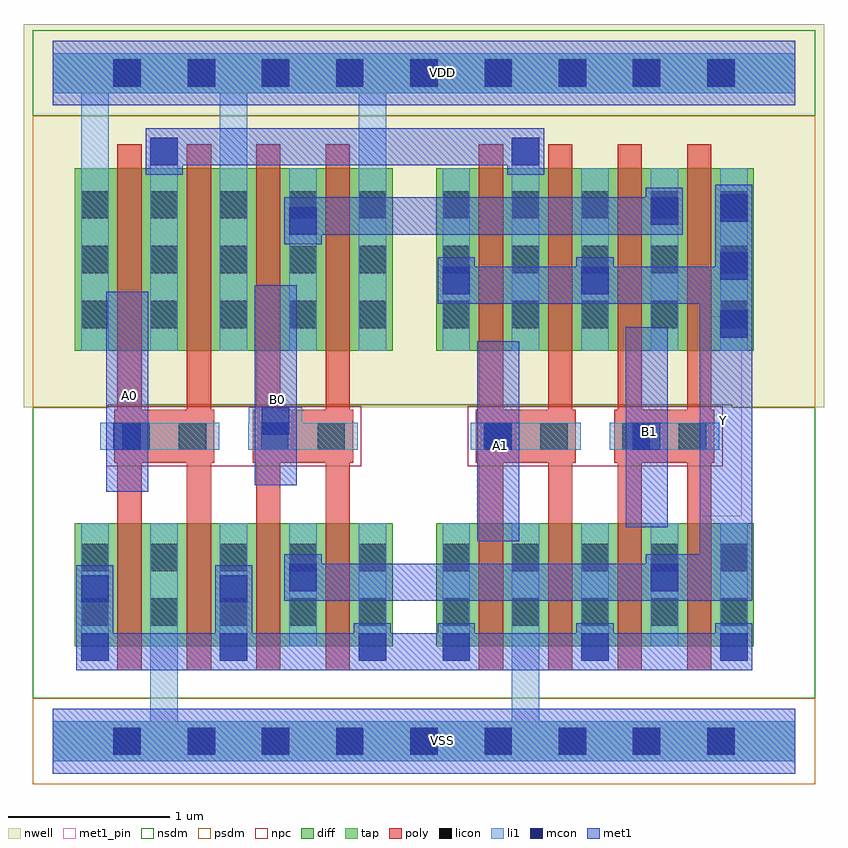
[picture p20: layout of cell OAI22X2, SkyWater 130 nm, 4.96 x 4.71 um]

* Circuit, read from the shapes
.subckt OAI22X2 A0 A1 B0 B1 VDD VSS Y
XM1 VSS A0 n1 VSS sky130_fd_pr__nfet_01v8 w=0.76 l=0.15 m=2
XM2 Y B0 n1 VSS sky130_fd_pr__nfet_01v8 w=0.76 l=0.15 m=2
XM3 VSS A1 n1 VSS sky130_fd_pr__nfet_01v8 w=0.76 l=0.15 m=2
XM4 Y B1 n1 VSS sky130_fd_pr__nfet_01v8 w=0.76 l=0.15 m=2
XM5 n2 A0 VDD VDD sky130_fd_pr__pfet_01v8 w=1.13 l=0.15 m=2
XM6 n3 B0 VDD VDD sky130_fd_pr__pfet_01v8 w=1.13 l=0.15 m=2
XM7 n2 A1 Y VDD sky130_fd_pr__pfet_01v8 w=1.13 l=0.15 m=2
XM8 n3 B1 Y VDD sky130_fd_pr__pfet_01v8 w=1.13 l=0.15 m=2
.ends

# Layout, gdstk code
from math import pi, radians
import gdstk
lib = gdstk.Library(unit=1e-6, precision=1e-09)
def R(c, l, rs):  # rectangles x0, y0, x1, y1
    for r in rs: c.add(gdstk.rectangle(r[:2], r[2:], *l))
def A(c, l, x, y, w, h, nx, ny, dx, dy):  # array of equal rectangles
    R(c, l, [(x+i*dx, y+j*dy, x+i*dx+w, y+j*dy+h) for i in range(nx) for j in range(ny)])
def P(c, l, *ps):  # polygons
    for p in ps: c.add(gdstk.Polygon(p, *l))
nwell = (64, 20)
diff = (65, 20)
tap = (65, 44)
poly = (66, 20)
licon = (66, 44)
li1 = (67, 20)
mcon = (67, 44)
met1_pin = (68, 16)
met1 = (68, 20)
nsdm = (93, 44)
psdm = (94, 20)
npc = (95, 20)

pfet_01v8_cdns_715785618 = lib.new_cell('pfet_01v8_CDNS_71578561820121')
R(pfet_01v8_cdns_715785618, nwell, [(-0.405,-0.18,1.025,1.31)])
R(pfet_01v8_cdns_715785618, diff, [(-0.225,0,0,1.13), (0,0,0.15,1.13), (0.15,0,0.43,1.13), (0.43,0,0.58,1.13), (0.58,0,0.845,1.13)])
R(pfet_01v8_cdns_715785618, poly, [(0,-0.15,0.15,-0.095), (0.43,-0.15,0.58,-0.095), (0,-0.095,0.15,0), (0.43,-0.095,0.58,0), (0,0,0.15,1.13), (0.43,0,0.58,1.13), (0,1.13,0.15,1.225), (0.43,1.13,0.58,1.225), (0,1.225,0.15,1.28), (0.43,1.225,0.58,1.28)])
A(pfet_01v8_cdns_715785618, licon, -0.225, 0.14, 0.17, 0.17, 3, 3, 0.43, 0.34)
A(pfet_01v8_cdns_715785618, li1, -0.225, 0, 0.17, 1.13, 3, 1, 0.43, 0)
R(pfet_01v8_cdns_715785618, psdm, [(-0.235,-0.13,0.985,1.26)])

c_pfet_01v8_cdns_715785618 = lib.new_cell('pfet_01v8_CDNS_71578561820122')
R(c_pfet_01v8_cdns_715785618, nwell, [(-0.235,-0.18,1.025,1.31)])
R(c_pfet_01v8_cdns_715785618, diff, [(-0.055,0,0,1.13), (0,0,0.15,1.13), (0.15,0,0.43,1.13), (0.43,0,0.58,1.13), (0.58,0,0.845,1.13)])
R(c_pfet_01v8_cdns_715785618, poly, [(0,-0.15,0.15,-0.095), (0.43,-0.15,0.58,-0.095), (0,-0.095,0.15,0), (0.43,-0.095,0.58,0), (0,0,0.15,1.13), (0.43,0,0.58,1.13), (0,1.13,0.15,1.225), (0.43,1.13,0.58,1.225), (0,1.225,0.15,1.28), (0.43,1.225,0.58,1.28)])
A(c_pfet_01v8_cdns_715785618, licon, 0.205, 0.14, 0.17, 0.17, 1, 3, 0, 0.34)
A(c_pfet_01v8_cdns_715785618, licon, 0.635, 0.14, 0.17, 0.17, 1, 3, 0, 0.34)
R(c_pfet_01v8_cdns_715785618, li1, [(0.205,0,0.375,1.13), (0.635,0,0.805,1.13)])
R(c_pfet_01v8_cdns_715785618, psdm, [(-0.065,-0.13,0.985,1.26)])

c_pfet_01v8_cdns_715785618_ = lib.new_cell('pfet_01v8_CDNS_71578561820123')
R(c_pfet_01v8_cdns_715785618_, nwell, [(-0.445,-0.18,0.815,1.31)])
R(c_pfet_01v8_cdns_715785618_, diff, [(-0.265,0,0,1.13), (0,0,0.15,1.13), (0.15,0,0.43,1.13), (0.43,0,0.58,1.13), (0.58,0,0.635,1.13)])
R(c_pfet_01v8_cdns_715785618_, poly, [(0,-0.15,0.15,-0.095), (0.43,-0.15,0.58,-0.095), (0,-0.095,0.15,0), (0.43,-0.095,0.58,0), (0,0,0.15,1.13), (0.43,0,0.58,1.13), (0,1.13,0.15,1.225), (0.43,1.13,0.58,1.225), (0,1.225,0.15,1.28), (0.43,1.225,0.58,1.28)])
A(c_pfet_01v8_cdns_715785618_, licon, -0.225, 0.14, 0.17, 0.17, 1, 3, 0, 0.34)
A(c_pfet_01v8_cdns_715785618_, licon, 0.205, 0.14, 0.17, 0.17, 1, 3, 0, 0.34)
R(c_pfet_01v8_cdns_715785618_, li1, [(-0.225,0,-0.055,1.13), (0.205,0,0.375,1.13)])
R(c_pfet_01v8_cdns_715785618_, psdm, [(-0.405,-0.13,0.645,1.26)])

c_pfet_01v8_cdns_715785618__ = lib.new_cell('pfet_01v8_CDNS_7157856182067')
R(c_pfet_01v8_cdns_715785618__, nwell, [(-0.445,-0.18,0.985,1.31)])
R(c_pfet_01v8_cdns_715785618__, diff, [(-0.265,0,0,1.13), (0,0,0.15,1.13), (0.15,0,0.43,1.13), (0.43,0,0.58,1.13), (0.58,0,0.805,1.13)])
R(c_pfet_01v8_cdns_715785618__, poly, [(0,-0.15,0.15,-0.095), (0.43,-0.15,0.58,-0.095), (0,-0.095,0.15,0), (0.43,-0.095,0.58,0), (0,0,0.15,1.13), (0.43,0,0.58,1.13), (0,1.13,0.15,1.225), (0.43,1.13,0.58,1.225), (0,1.225,0.15,1.28), (0.43,1.225,0.58,1.28)])
A(c_pfet_01v8_cdns_715785618__, licon, -0.225, 0.14, 0.17, 0.17, 3, 3, 0.43, 0.34)
A(c_pfet_01v8_cdns_715785618__, li1, -0.225, 0, 0.17, 1.13, 3, 1, 0.43, 0)
R(c_pfet_01v8_cdns_715785618__, psdm, [(-0.405,-0.13,0.815,1.26)])

nfet_01v8_cdns_715785618 = lib.new_cell('nfet_01v8_CDNS_71578561820124')
R(nfet_01v8_cdns_715785618, diff, [(-0.265,0,0,0.76), (0,0,0.15,0.76), (0.15,0,0.43,0.76), (0.43,0,0.58,0.76), (0.58,0,0.805,0.76)])
R(nfet_01v8_cdns_715785618, poly, [(0,-0.15,0.15,-0.095), (0.43,-0.15,0.58,-0.095), (0,-0.095,0.15,0), (0.43,-0.095,0.58,0), (0,0,0.15,0.76), (0.43,0,0.58,0.76), (0,0.76,0.15,0.855), (0.43,0.76,0.58,0.855), (0,0.855,0.15,0.91), (0.43,0.855,0.58,0.91)])
A(nfet_01v8_cdns_715785618, licon, -0.225, 0.125, 0.17, 0.17, 3, 2, 0.43, 0.34)
A(nfet_01v8_cdns_715785618, li1, -0.225, 0, 0.17, 0.76, 3, 1, 0.43, 0)
R(nfet_01v8_cdns_715785618, nsdm, [(-0.405,-0.13,0.815,0.89)])

c_nfet_01v8_cdns_715785618 = lib.new_cell('nfet_01v8_CDNS_71578561820125')
R(c_nfet_01v8_cdns_715785618, diff, [(-0.055,0,0,0.76), (0,0,0.15,0.76), (0.15,0,0.43,0.76), (0.43,0,0.58,0.76), (0.58,0,0.845,0.76)])
R(c_nfet_01v8_cdns_715785618, poly, [(0,-0.15,0.15,-0.095), (0.43,-0.15,0.58,-0.095), (0,-0.095,0.15,0), (0.43,-0.095,0.58,0), (0,0,0.15,0.76), (0.43,0,0.58,0.76), (0,0.76,0.15,0.855), (0.43,0.76,0.58,0.855), (0,0.855,0.15,0.91), (0.43,0.855,0.58,0.91)])
R(c_nfet_01v8_cdns_715785618, licon, [(0.205,0.125,0.375,0.295), (0.635,0.125,0.805,0.295), (0.205,0.465,0.375,0.635), (0.635,0.465,0.805,0.635)])
R(c_nfet_01v8_cdns_715785618, li1, [(0.205,0,0.375,0.76), (0.635,0,0.805,0.76)])
R(c_nfet_01v8_cdns_715785618, nsdm, [(-0.065,-0.13,0.985,0.89)])

l1m1_c_cdns_715785618201 = lib.new_cell('L1M1_C_CDNS_7157856182014')
R(l1m1_c_cdns_715785618201, li1, [(-0.085,-0.165,0.085,0.085)])
R(l1m1_c_cdns_715785618201, mcon, [(-0.085,-0.085,0.085,0.085)])
R(l1m1_c_cdns_715785618201, met1, [(-0.115,-0.145,0.115,0.145)])

pyl1con_c_cdns_715785618 = lib.new_cell('PYL1CON_C_CDNS_715785618200')
R(pyl1con_c_cdns_715785618, poly, [(-0.135,-0.165,0.135,0.165)])
R(pyl1con_c_cdns_715785618, licon, [(-0.085,-0.085,0.085,0.085)])
R(pyl1con_c_cdns_715785618, npc, [(-0.185,-0.185,0.185,0.185)])

l1m1_c_cdns_715785618203 = lib.new_cell('L1M1_C_CDNS_715785618203')
R(l1m1_c_cdns_715785618203, li1, [(-0.165,-0.085,0.165,0.085)])
R(l1m1_c_cdns_715785618203, mcon, [(-0.085,-0.085,0.085,0.085)])
R(l1m1_c_cdns_715785618203, met1, [(-0.115,-0.145,0.115,0.145)])

l1m1_c_cdns_715785618202 = lib.new_cell('L1M1_C_CDNS_715785618202')
R(l1m1_c_cdns_715785618202, li1, [(-0.085,-0.165,0.085,0.165)])
R(l1m1_c_cdns_715785618202, mcon, [(-0.085,-0.085,0.085,0.085)])
R(l1m1_c_cdns_715785618202, met1, [(-0.115,-0.145,0.115,0.145)])

c_l1m1_c_cdns_715785618201 = lib.new_cell('L1M1_C_CDNS_7157856182010')
R(c_l1m1_c_cdns_715785618201, li1, [(-0.085,-0.085,0.085,0.165)])
R(c_l1m1_c_cdns_715785618201, mcon, [(-0.085,-0.085,0.085,0.085)])
R(c_l1m1_c_cdns_715785618201, met1, [(-0.115,-0.145,0.115,0.145)])

l1m1_c_cdns_715785618204 = lib.new_cell('L1M1_C_CDNS_715785618204')
R(l1m1_c_cdns_715785618204, li1, [(-0.085,-0.525,0.085,0.525)])
A(l1m1_c_cdns_715785618204, mcon, -0.085, -0.445, 0.17, 0.17, 1, 3, 0, 0.36)
R(l1m1_c_cdns_715785618204, met1, [(-0.115,-0.505,0.115,0.505)])

c_l1m1_c_cdns_715785618202 = lib.new_cell('L1M1_C_CDNS_7157856182026')
R(c_l1m1_c_cdns_715785618202, li1, [(-0.085,-0.265,0.085,0.345)])
R(c_l1m1_c_cdns_715785618202, mcon, [(-0.085,-0.265,0.085,-0.095), (-0.085,0.095,0.085,0.265)])
R(c_l1m1_c_cdns_715785618202, met1, [(-0.115,-0.325,0.115,0.325)])

oai22x2 = lib.new_cell('OAI22X2')
R(oai22x2, nwell, [(-0.18,2.07,4.78,4.305), (-0.18,3.875,4.78,4.445)])
R(oai22x2, poly, [(0.38,1.725,1,2.055), (1.24,1.725,1.86,2.055), (2.62,1.725,3.24,2.055), (3.48,1.725,4.1,2.055)])
A(oai22x2, licon, 0.375, -0.085, 0.17, 0.17, 9, 2, 0.46, 4.14)
A(oai22x2, mcon, 0.375, -0.085, 0.17, 0.17, 9, 2, 0.46, 4.14)
R(oai22x2, met1_pin, [(2.63,1.24,2.89,2.48), (3.55,1.325,3.81,2.565), (4.01,1.395,4.27,2.635), (0.33,1.545,0.59,2.785), (1.25,1.585,1.51,2.825)])
R(oai22x2, met1, [(3.675,0.87,4.335,1.16), (4.01,0.87,4.335,2.71)])
R(oai22x2, nsdm, [(-0.125,3.875,4.725,4.405), (-0.125,3.93,4.725,4.35)])
P(oai22x2, nsdm, [(4.725,2.07),(4.21,2.07),(4.21,2.085),(0.34,2.085),(0.34,2.07),(-0.125,2.07),(-0.125,0.265),(4.725,0.265)])
R(oai22x2, psdm, [(-0.125,-0.265,4.725,0.265), (-0.125,-0.21,4.725,0.21)])
P(oai22x2, psdm, [(4.725,3.875),(-0.125,3.875),(-0.125,2.07),(0.34,2.07),(0.34,2.085),(4.21,2.085),(4.21,2.07),(4.725,2.07)])
R(oai22x2, npc, [(0.33,1.705,1.91,2.075), (2.57,1.705,4.15,2.075)])
oai22x2.add(gdstk.FlexPath([(0.35,1.89),(1.03,1.89)], 0.17, ends="flush", simple_path=True, layer=67, datatype=20))  # li1
oai22x2.add(gdstk.FlexPath([(1.21,1.89),(1.89,1.89)], 0.17, ends="flush", simple_path=True, layer=67, datatype=20))  # li1
oai22x2.add(gdstk.FlexPath([(2.59,1.89),(3.27,1.89)], 0.17, ends="flush", simple_path=True, layer=67, datatype=20))  # li1
oai22x2.add(gdstk.FlexPath([(3.45,1.89),(4.13,1.89)], 0.17, ends="flush", simple_path=True, layer=67, datatype=20))  # li1
oai22x2.add(gdstk.FlexPath([(0.26,3.55),(0.26,4.265)], 0.17, ends="flush", simple_path=True, layer=67, datatype=20))  # li1
oai22x2.add(gdstk.FlexPath([(1.98,3.55),(1.98,4.265)], 0.17, ends="flush", simple_path=True, layer=67, datatype=20))  # li1
oai22x2.add(gdstk.FlexPath([(4.34,4.14),(4.6,4.14)], 0.25, ends=(0.085, 0), simple_path=True, layer=67, datatype=20))  # li1
oai22x2.add(gdstk.FlexPath([(1.12,3.55),(1.12,4.265)], 0.17, ends="flush", simple_path=True, layer=67, datatype=20))  # li1
oai22x2.add(gdstk.FlexPath([(0.69,4.14),(2.47,4.14)], 0.25, ends=(0.085, 0.085), simple_path=True, layer=67, datatype=20))  # li1
oai22x2.add(gdstk.FlexPath([(3.42,4.14),(4.34,4.14)], 0.25, ends=(0.085, 0.085), simple_path=True, layer=67, datatype=20))  # li1
oai22x2.add(gdstk.FlexPath([(0,4.14),(0.69,4.14)], 0.25, ends=(0, 0.085), simple_path=True, layer=67, datatype=20))  # li1
oai22x2.add(gdstk.FlexPath([(2.47,4.14),(3.42,4.14)], 0.25, ends=(0.085, 0.085), simple_path=True, layer=67, datatype=20))  # li1
oai22x2.add(gdstk.FlexPath([(2.93,-0.125),(2.93,0.59)], 0.17, ends="flush", simple_path=True, layer=67, datatype=20))  # li1
oai22x2.add(gdstk.FlexPath([(0.69,-0.125),(0.69,0.59)], 0.17, ends="flush", simple_path=True, layer=67, datatype=20))  # li1
oai22x2.add(gdstk.FlexPath([(2.47,0),(3.42,0)], 0.25, ends=(0.085, 0.085), simple_path=True, layer=67, datatype=20))  # li1
oai22x2.add(gdstk.FlexPath([(0,0),(0.69,0)], 0.25, ends=(0, 0.085), simple_path=True, layer=67, datatype=20))  # li1
oai22x2.add(gdstk.FlexPath([(3.42,0),(4.34,0)], 0.25, ends=(0.085, 0.085), simple_path=True, layer=67, datatype=20))  # li1
oai22x2.add(gdstk.FlexPath([(0.69,0),(2.47,0)], 0.25, ends=(0.085, 0.085), simple_path=True, layer=67, datatype=20))  # li1
oai22x2.add(gdstk.FlexPath([(4.34,0),(4.6,0)], 0.25, ends=(0.085, 0), simple_path=True, layer=67, datatype=20))  # li1
oai22x2.add(gdstk.FlexPath([(2.715,2.325),(2.715,1.445)], 0.15, ends="flush", simple_path=True, layer=66, datatype=20))  # poly
oai22x2.add(gdstk.FlexPath([(4.005,2.325),(4.005,1.445)], 0.15, ends="flush", simple_path=True, layer=66, datatype=20))  # poly
oai22x2.add(gdstk.FlexPath([(0.905,2.325),(0.905,1.445)], 0.15, ends="flush", simple_path=True, layer=66, datatype=20))  # poly
oai22x2.add(gdstk.FlexPath([(1.765,2.325),(1.765,1.445)], 0.15, ends="flush", simple_path=True, layer=66, datatype=20))  # poly
oai22x2.add(gdstk.FlexPath([(3.575,2.325),(3.575,1.445)], 0.15, ends="flush", simple_path=True, layer=66, datatype=20))  # poly
oai22x2.add(gdstk.FlexPath([(0.475,2.325),(0.475,1.445)], 0.15, ends="flush", simple_path=True, layer=66, datatype=20))  # poly
oai22x2.add(gdstk.FlexPath([(1.335,2.325),(1.335,1.445)], 0.15, ends="flush", simple_path=True, layer=66, datatype=20))  # poly
oai22x2.add(gdstk.FlexPath([(3.145,2.325),(3.145,1.445)], 0.15, ends="flush", simple_path=True, layer=66, datatype=20))  # poly
oai22x2.add(gdstk.FlexPath([(0,4.14),(4.6,4.14)], 0.25, ends="flush", simple_path=True, layer=65, datatype=44))  # tap
oai22x2.add(gdstk.FlexPath([(0,0),(4.6,0)], 0.25, ends="flush", simple_path=True, layer=65, datatype=44))  # tap
oai22x2.add(gdstk.FlexPath([(4.335,2.825),(2.385,2.825)], 0.23, ends="flush", simple_path=True, layer=68, datatype=20))  # met1
oai22x2.add(gdstk.FlexPath([(4.14,1.395),(4.14,2.635)], 0.26, ends="flush", simple_path=True, layer=68, datatype=20))  # met1
oai22x2.add(gdstk.FlexPath([(3.68,1.325),(3.68,2.565)], 0.26, ends="flush", simple_path=True, layer=68, datatype=20))  # met1
oai22x2.add(gdstk.FlexPath([(3.905,3.255),(1.435,3.255)], 0.23, ends="flush", simple_path=True, layer=68, datatype=20))  # met1
oai22x2.add(gdstk.FlexPath([(0.46,1.545),(0.46,2.785)], 0.26, ends="flush", simple_path=True, layer=68, datatype=20))  # met1
oai22x2.add(gdstk.FlexPath([(1.38,1.585),(1.38,2.825)], 0.26, ends="flush", simple_path=True, layer=68, datatype=20))  # met1
oai22x2.add(gdstk.FlexPath([(4.335,0.555),(0.145,0.555)], 0.23, ends="flush", simple_path=True, layer=68, datatype=20))  # met1
oai22x2.add(gdstk.FlexPath([(4.335,0.985),(1.435,0.985)], 0.23, ends="flush", simple_path=True, layer=68, datatype=20))  # met1
oai22x2.add(gdstk.FlexPath([(2.76,1.24),(2.76,2.48)], 0.26, ends="flush", simple_path=True, layer=68, datatype=20))  # met1
oai22x2.add(gdstk.FlexPath([(3.045,3.685),(0.575,3.685)], 0.23, ends="flush", simple_path=True, layer=68, datatype=20))  # met1
oai22x2.add(gdstk.FlexPath([(0,0),(4.6,0)], 0.4, ends="flush", simple_path=True, layer=68, datatype=20))  # met1
oai22x2.add(gdstk.FlexPath([(0,4.14),(4.6,4.14)], 0.4, ends="flush", simple_path=True, layer=68, datatype=20))  # met1
oai22x2.add(gdstk.FlexPath([(0,4.14),(4.6,4.14)], 0.4, ends="flush", simple_path=True, layer=68, datatype=16))  # met1_pin
oai22x2.add(gdstk.FlexPath([(0,0),(4.6,0)], 0.4, ends="flush", simple_path=True, layer=68, datatype=16))  # met1_pin
oai22x2.add(gdstk.Reference(pfet_01v8_cdns_715785618, (1.26,2.42)))
oai22x2.add(gdstk.Reference(c_pfet_01v8_cdns_715785618, (3.5,2.42)))
oai22x2.add(gdstk.Reference(c_pfet_01v8_cdns_715785618_, (0.4,2.42)))
oai22x2.add(gdstk.Reference(c_pfet_01v8_cdns_715785618__, (2.64,2.42)))
oai22x2.add(gdstk.Reference(nfet_01v8_cdns_715785618, (0.4,0.59)))
oai22x2.add(gdstk.Reference(nfet_01v8_cdns_715785618, (2.64,0.59)))
oai22x2.add(gdstk.Reference(c_nfet_01v8_cdns_715785618, (3.5,0.59)))
oai22x2.add(gdstk.Reference(c_nfet_01v8_cdns_715785618, (1.26,0.59)))
oai22x2.add(gdstk.Reference(l1m1_c_cdns_715785618201, (0.69,3.655)))
oai22x2.add(gdstk.Reference(l1m1_c_cdns_715785618201, (2.93,3.655)))
oai22x2.add(gdstk.Reference(pyl1con_c_cdns_715785618, (3.965,1.89), rotation=pi, x_reflection=True))
oai22x2.add(gdstk.Reference(pyl1con_c_cdns_715785618, (3.615,1.89), rotation=pi, x_reflection=True))
oai22x2.add(gdstk.Reference(pyl1con_c_cdns_715785618, (3.105,1.89), rotation=pi, x_reflection=True))
oai22x2.add(gdstk.Reference(pyl1con_c_cdns_715785618, (2.755,1.89), rotation=pi, x_reflection=True))
oai22x2.add(gdstk.Reference(pyl1con_c_cdns_715785618, (1.725,1.89), rotation=pi, x_reflection=True))
oai22x2.add(gdstk.Reference(pyl1con_c_cdns_715785618, (1.375,1.89), rotation=pi, x_reflection=True))
oai22x2.add(gdstk.Reference(pyl1con_c_cdns_715785618, (0.865,1.89), rotation=pi, x_reflection=True))
oai22x2.add(gdstk.Reference(pyl1con_c_cdns_715785618, (0.515,1.89), rotation=pi, x_reflection=True))
oai22x2.add(gdstk.Reference(l1m1_c_cdns_715785618203, (3.68,1.89), x_reflection=True))
oai22x2.add(gdstk.Reference(l1m1_c_cdns_715785618203, (2.76,1.89), x_reflection=True))
oai22x2.add(gdstk.Reference(l1m1_c_cdns_715785618203, (1.38,1.985), x_reflection=True))
oai22x2.add(gdstk.Reference(l1m1_c_cdns_715785618203, (0.46,1.89), x_reflection=True))
oai22x2.add(gdstk.Reference(l1m1_c_cdns_715785618202, (1.55,3.225)))
oai22x2.add(gdstk.Reference(l1m1_c_cdns_715785618202, (3.79,3.285)))
oai22x2.add(gdstk.Reference(l1m1_c_cdns_715785618202, (2.5,2.855)))
oai22x2.add(gdstk.Reference(l1m1_c_cdns_715785618202, (3.36,2.855)))
oai22x2.add(gdstk.Reference(l1m1_c_cdns_715785618202, (3.79,1.015)))
oai22x2.add(gdstk.Reference(l1m1_c_cdns_715785618202, (1.55,1.015)))
oai22x2.add(gdstk.Reference(c_l1m1_c_cdns_715785618201, (2.5,0.585)))
oai22x2.add(gdstk.Reference(c_l1m1_c_cdns_715785618201, (3.36,0.585)))
oai22x2.add(gdstk.Reference(c_l1m1_c_cdns_715785618201, (4.22,0.585)))
oai22x2.add(gdstk.Reference(c_l1m1_c_cdns_715785618201, (1.98,0.585)))
oai22x2.add(gdstk.Reference(l1m1_c_cdns_715785618204, (4.22,2.945)))
oai22x2.add(gdstk.Reference(c_l1m1_c_cdns_715785618202, (1.12,0.765)))
oai22x2.add(gdstk.Reference(c_l1m1_c_cdns_715785618202, (0.26,0.765)))
oai22x2.add(gdstk.Label('A0', (0.475,2.14), layer=68, texttype=20))
oai22x2.add(gdstk.Label('A1', (2.775,1.835), layer=68, texttype=20))
oai22x2.add(gdstk.Label('B0', (1.395,2.12), layer=68, texttype=20))
oai22x2.add(gdstk.Label('VDD', (2.415,4.145), layer=68, texttype=20))
oai22x2.add(gdstk.Label('VSS', (2.415,0.005), layer=68, texttype=20))
oai22x2.add(gdstk.Label('B1', (3.695,1.92), layer=68, texttype=20))
oai22x2.add(gdstk.Label('Y', (4.155,1.99), layer=68, texttype=20))

lib.write_gds('OAI22X2.gds')
